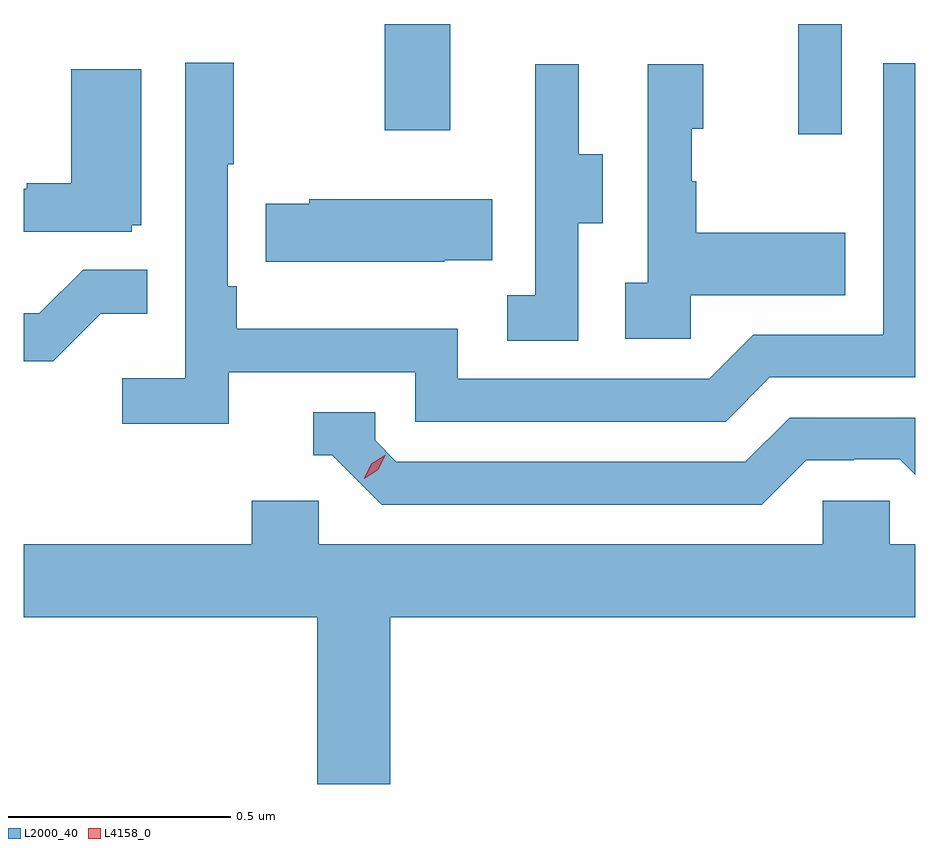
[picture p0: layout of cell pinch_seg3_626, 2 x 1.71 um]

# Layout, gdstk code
import gdstk
lib = gdstk.Library(unit=1e-6, precision=1e-09)
def R(c, l, rs):  # rectangles x0, y0, x1, y1
    for r in rs: c.add(gdstk.rectangle(r[:2], r[2:], *l))
def P(c, l, *ps):  # polygons
    for p in ps: c.add(gdstk.Polygon(p, *l))
L2000_40 = (2000, 40)
L4158_0 = (4158, 0)

pinch_seg3_626 = lib.new_cell('pinch_seg3_626')
R(pinch_seg3_626, L2000_40, [(1041.212,694.008,1041.309,694.255), (1040.284,694.017,1040.431,694.255)])
P(pinch_seg3_626, L2000_40, [(1039.934,693.474),(1040.352,693.474),(1040.352,693.363),(1041.049,693.363),(1041.148,693.462),(1041.474,693.462),(1041.474,694.167),(1041.402,694.167),(1041.402,693.558),(1041.111,693.558),(1041.012,693.459),(1040.448,693.459),(1040.448,693.571),(1039.952,693.571),(1039.952,693.667),(1039.932,693.667),(1039.932,693.94),(1039.945,693.94),(1039.945,694.168),(1039.836,694.168),(1039.836,693.46),(1039.695,693.46),(1039.695,693.358),(1039.934,693.358)],
  [(1040.97,693.647),(1041.317,693.647),(1041.317,693.787),(1040.983,693.787),(1040.983,693.902),(1040.973,693.902),(1040.973,694.02),(1040.998,694.02),(1040.998,694.165),(1040.874,694.165),(1040.874,693.674),(1040.823,693.674),(1040.823,693.549),(1040.97,693.549)],
  [(1040.718,693.808),(1040.773,693.808),(1040.773,693.963),(1040.719,693.963),(1040.719,694.165),(1040.621,694.165),(1040.621,693.951),(1040.622,693.951),(1040.622,693.647),(1040.559,693.647),(1040.559,693.544),(1040.718,693.544)],
  [(1039.716,693.804),(1039.738,693.804),(1039.738,694.153),(1039.58,694.153),(1039.58,693.898),(1039.481,693.898),(1039.481,693.885),(1039.474,693.885),(1039.474,693.789),(1039.716,693.789)],
  [(1040.417,693.725),(1040.525,693.725),(1040.525,693.862),(1040.115,693.862),(1040.115,693.852),(1040.017,693.852),(1040.017,693.722),(1040.417,693.722)],
  [(1039.647,693.605),(1039.751,693.605),(1039.751,693.704),(1039.607,693.704),(1039.509,693.606),(1039.474,693.606),(1039.474,693.498),(1039.54,693.498)],
  [(1041.229,693.276),(1041.336,693.276),(1041.336,693.279),(1041.439,693.279),(1041.474,693.244),(1041.474,693.372),(1041.192,693.372),(1041.093,693.273),(1040.31,693.273),(1040.262,693.321),(1040.262,693.384),(1040.123,693.384),(1040.123,693.288),(1040.166,693.288),(1040.277,693.177),(1041.13,693.177)],
  [(1040.296,692.924),(1041.474,692.924),(1041.474,693.088),(1041.417,693.088),(1041.417,693.186),(1041.267,693.186),(1041.267,693.088),(1040.136,693.088),(1040.136,693.186),(1039.985,693.186),(1039.985,693.088),(1039.474,693.088),(1039.474,692.924),(1040.132,692.924),(1040.132,692.55),(1040.296,692.55)])
P(pinch_seg3_626, L4158_0, [(1040.238,693.235),(1040.238,693.236),(1040.254,693.268),(1040.284,693.288),(1040.285,693.288),(1040.285,693.287),(1040.269,693.255),(1040.238,693.235)])

lib.write_gds('pinch_seg3_626.gds')
